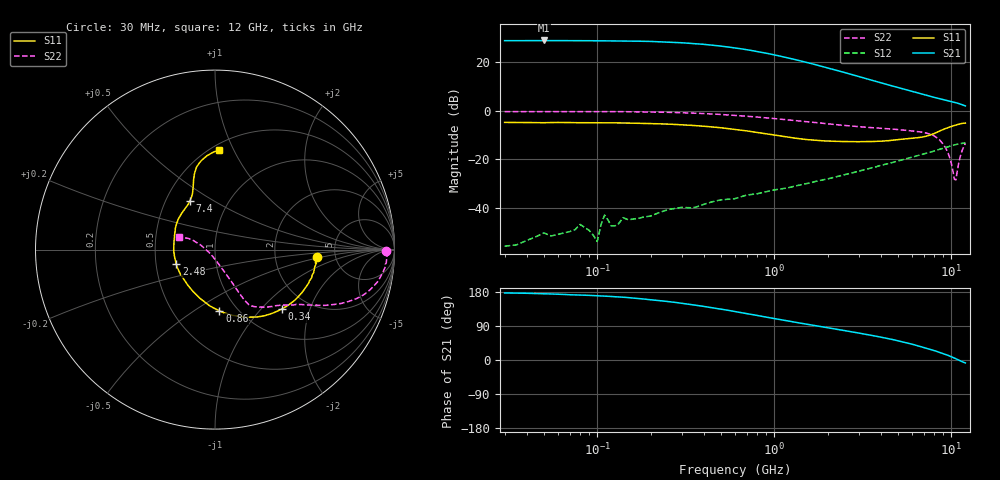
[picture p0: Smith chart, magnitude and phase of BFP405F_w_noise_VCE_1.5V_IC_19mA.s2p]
! Infineon Technologies  Discrete & RF Semiconductors
! BFP405F
! VCE =  1.5 V,  IC =  19 mA
! Common Emitter S-Parameters:  Nov 2015
# GHz  S  MA  R  50
!  f  S11  S21  S12  S22
! GHz  MAG  ANG  MAG  ANG  MAG  ANG  MAG  ANG
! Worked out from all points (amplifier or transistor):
!   239 points, 30 MHz to 12 GHz, reference 50 ohm
!   highest |S21| = 29.0 dB at 50 MHz (marker M1)
!   |S21| within 3 dB of that: start of sweep to 588.4 MHz
!   unconditionally stable (mu >= 1): 1.466 GHz to end of sweep
!   at 300 MHz: K = 0.34, MSG = 34.0 dB, |S12| = -39.9 dB
!   at 1.88 GHz: K = 1.14, MAG = 21.1 dB, |S12| = -28.6 dB
!   at 12 GHz: K = 1.42, MAG = 3.7 dB, |S12| = -13.3 dB
!   lowest NFmin = 2.19 dB at 450 MHz
!   S11 on the Smith chart (normalised r, x): 30 MHz: 3.62, -0.43; 340 MHz: 1.49, -1.31; 860 MHz: 0.83, -0.64; 2.48 GHz: 0.64, -0.11; 7.4 GHz: 0.66, +0.40; 12 GHz: 0.55, +0.88
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0.03  0.5723 -4.0  27.73 176.9  0.0016 56.4  0.9545 -0.6
0.04  0.568 -5.2  27.82 176.1  0.0021 97.7  0.9552 -1.0
0.05  0.564 -7.6  28.02 174.6  0.003 96.8  0.9573 -1.3
0.085  0.5639 -11.3  27.68 170.9  0.0039 85.2  0.9576 -3.7
0.1  0.5643 -13.3  27.55 169.6  0.002 69.7  0.9573 -4.3
0.11  0.5593 -14.7  27.51 168.5  0.007 100.3  0.9527 -4.9
0.15  0.5541 -19.7  27.29 164.6  0.0056 81.2  0.9496 -6.7
0.2  0.5415 -25.9  26.77 159.0  0.0067 80.3  0.9362 -9.0
0.24  0.5305 -30.7  26.05 155.3  0.0086 76.9  0.9269 -10.7
0.34  0.4976 -41.8  24.36 146.3  0.0099 72.5  0.893 -14.5
0.45  0.4604 -53.2  22.36 137.6  0.0133 72.1  0.8514 -17.9
0.6  0.4103 -66.7  19.65 127.7  0.0153 69.6  0.7973 -21.3
0.7  0.3815 -74.4  18.08 122.3  0.0182 67.9  0.7667 -23.0
0.86  0.3414 -85.9  15.79 114.9  0.0205 68.4  0.721 -25.2
1.2  0.2845 -107.1  12.2 102.8  0.0256 67.4  0.6463 -28.6
1.64  0.2473 -128.9  9.23 92.0  0.0332 67.6  0.578 -32.0
2.48  0.2302 -159.7  6.147 77.8  0.0476 66.8  0.4954 -38.7
4.5  0.2421 157.9  3.33 55.5  0.0828 60.9  0.4203 -49.8
7.4  0.3052 117.3  2.025 29.6  0.1353 48.6  0.3369 -59.4
9.2  0.4223 106.1  1.657 15.2  0.1719 39.0  0.1784 -63.8
10.6  0.5042 98.3  1.46 3.3  0.1999 30.2  0.0373 -157.0
12  0.5541 87.5  1.25 -7.8  0.2175 22.2  0.2122 160.8
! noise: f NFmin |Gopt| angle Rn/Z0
0.45  2.19  0.03  -9  0.5
0.9  2.21  0.01  -43  0.33
1.5  2.26  0.02  -82  0.27
1.9  2.32  0.03  -109  0.39
2.4  2.46  0.03  -113  0.24
3  2.56  0.05  -115  0.11
3.5  2.63  0.07  -116  0.14
4.5  2.86  0.13  -104  0.46
5.5  3.17  0.23  -88  0.49
